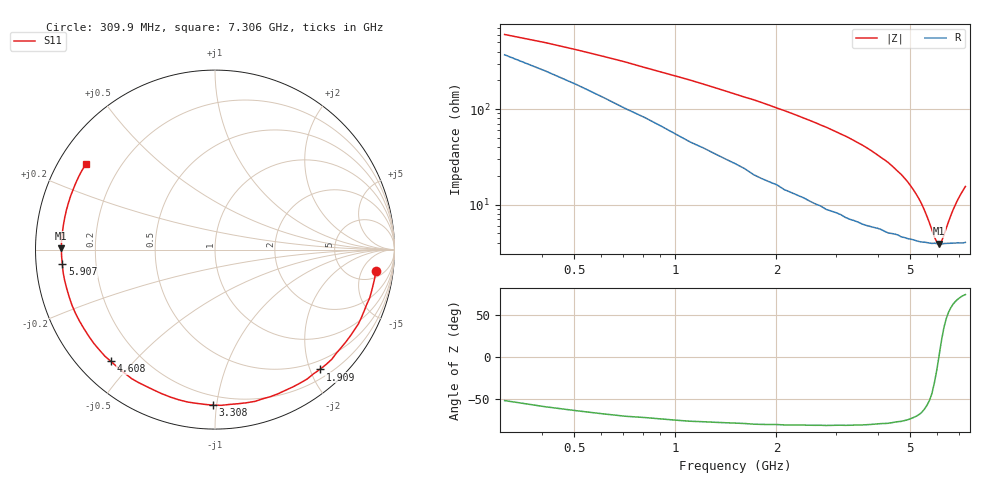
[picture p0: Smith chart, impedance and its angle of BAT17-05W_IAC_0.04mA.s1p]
! Infineon Technologies  Discrete & RF Semiconductors
! BAT17-05W
! IAC = 0.04 mA
! One-Port S-Parameters
# Hz  S  MA  R  50
!f  S11
!Hz  Mag  Ang
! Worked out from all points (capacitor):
!   71 points, 309.9 MHz to 7.306 GHz, reference 50 ohm
!   read as one part to ground: C = 902 fF near 309.9 MHz
!   lowest |Z| = 3.88 ohm at 6.107 GHz (marker M1)
!   series resonance near 6.091 GHz, so ESL is about 760 pH
!   S11 on the Smith chart (normalised r, x): 309.9 MHz: 7, -10; 1.909 GHz: 0.34, -2.16; 3.308 GHz: 0.14, -0.98; 4.608 GHz: 0.10, -0.43; 5.907 GHz: 0.08, -0.05; 7.306 GHz: 0.08, +0.30
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3.0985e8  0.904 -7.5
7.0965e8  0.9029 -17.3
1.10945e9  0.8998 -27.4
1.2094e9  0.8962 -30.0
1.70915e9  0.8926 -43.1
1.90905e9  0.8871 -48.8
2.10895e9  0.8851 -54.5
2.30885e9  0.8797 -60.3
2.6087e9  0.8756 -69.3
2.8086e9  0.8745 -75.2
3.0085e9  0.8682 -81.5
3.30835e9  0.8669 -90.7
3.6082e9  0.8627 -100.3
3.8081e9  0.8583 -106.9
4.10795e9  0.8528 -116.9
4.30785e9  0.8557 -122.9
4.6077e9  0.8508 -133.0
4.70765e9  0.854 -135.9
5.0075e9  0.8528 -145.8
5.2074e9  0.8536 -152.3
5.4073e9  0.8549 -158.6
5.6072e9  0.8541 -165.2
5.90705e9  0.8545 -174.6
6.10695e9  0.856 179.5
6.50675e9  0.856 167.8
6.8066e9  0.858 159.6
7.10645e9  0.8616 151.7
7.30635e9  0.8629 146.6
